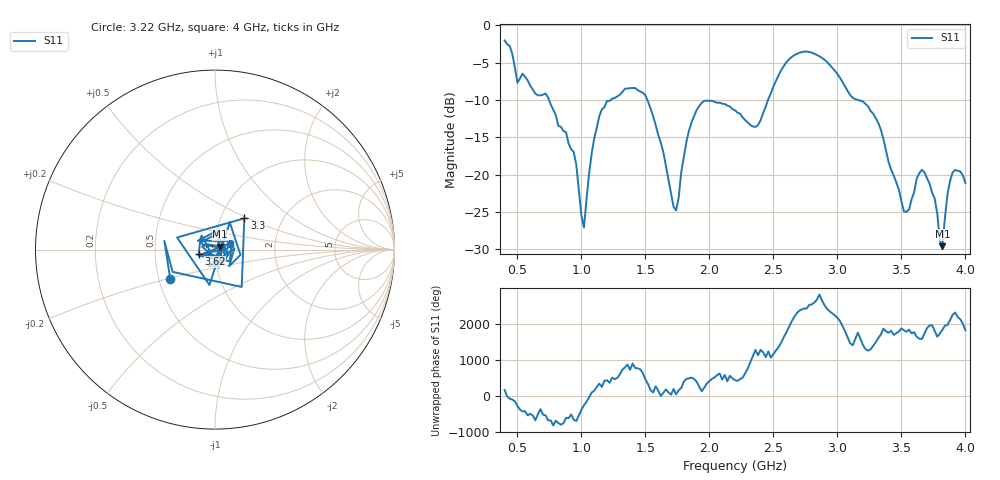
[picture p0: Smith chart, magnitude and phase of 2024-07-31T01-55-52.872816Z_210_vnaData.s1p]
!Created with skrf (http://scikit-rf.org).
# Hz S RI R 50.0
!freq ReS11 ImS11
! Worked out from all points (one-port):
!   181 points, 400 MHz to 4 GHz, reference 50 ohm
!   lowest |S11| = -29.6 dB at 3.82 GHz (marker M1), VSWR 1.07, Z = 53 + j1.7 ohm
!   |S11| at or under -10 dB: 747.2 MHz to 1.228 GHz (481 MHz wide, 48.7 % of centre); 1.515 GHz to 2.458 GHz (942.3 MHz wide, 47.4 % of centre); 3.163 GHz to end of sweep
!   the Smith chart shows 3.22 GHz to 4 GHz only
!   S11 on the Smith chart (normalised r, x): 3.22 GHz: 0.57, -0.20; 3.3 GHz: 1.29, +0.48; 3.62 GHz: 0.83, -0.04; 4 GHz: 1.17, +0.08
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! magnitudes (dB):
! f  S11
! 400 MHz  -2.0
! 500 MHz  -7.7
! 720 MHz  -9.1
! 860 MHz  -14.2
! 940 MHz  -17.0
! 1.02 GHz  -27.1
! 1.08 GHz  -17.2
! 1.14 GHz  -12.2
! 1.3 GHz  -9.3
! 1.5 GHz  -9.4
! 1.72 GHz  -24.3
! 1.76 GHz  -23.1
! 1.82 GHz  -15.6
! 1.9 GHz  -11.3
! 2.2 GHz  -11.4
! 2.38 GHz  -13.4
! 2.66 GHz  -4.0
! 2.88 GHz  -4.4
! 3.1 GHz  -9.3
! 3.22 GHz  -10.5
! 3.3 GHz  -12.4
! 3.52 GHz  -24.9
! 3.56 GHz  -24.7
! 3.62 GHz  -20.5
! 3.72 GHz  -21.2
! 3.82 GHz  -29.6
! 3.9 GHz  -19.7
! 4 GHz  -21.1
